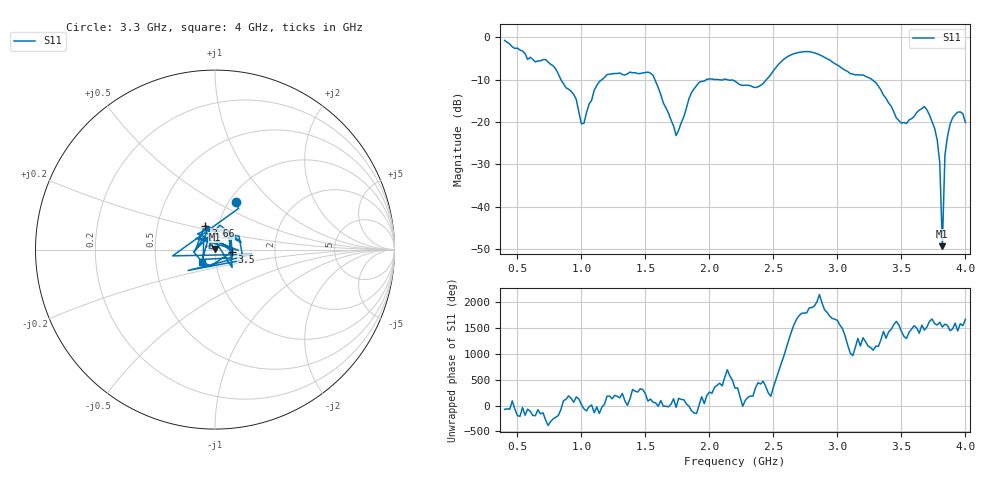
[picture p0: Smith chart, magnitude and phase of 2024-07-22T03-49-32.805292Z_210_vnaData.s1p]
!Created with skrf (http://scikit-rf.org).
# Hz S RI R 50.0
!freq ReS11 ImS11
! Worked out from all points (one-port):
!   181 points, 400 MHz to 4 GHz, reference 50 ohm
!   lowest |S11| = -49.4 dB at 3.82 GHz (marker M1), VSWR 1.01, Z = 50.1 + j0.33 ohm
!   |S11| at or under -10 dB: 839.2 MHz to 1.161 GHz (322 MHz wide, 32.2 % of centre); 1.574 GHz to 1.977 GHz (403.4 MHz wide, 22.7 % of centre); 3.27 GHz to end of sweep (the widest 3 of 5)
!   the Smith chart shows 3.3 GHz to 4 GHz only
!   S11 on the Smith chart (normalised r, x): 3.3 GHz: 1.07, +0.63; 3.5 GHz: 1.21, -0.03; 3.66 GHz: 0.87, +0.24; 4 GHz: 0.86, -0.12
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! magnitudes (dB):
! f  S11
! 400 MHz  -0.8
! 580 MHz  -5.3
! 720 MHz  -5.3
! 860 MHz  -11.0
! 960 MHz  -14.7
! 1 GHz  -20.5
! 1.14 GHz  -10.5
! 1.3 GHz  -8.4
! 1.56 GHz  -9.0
! 1.74 GHz  -23.2
! 1.76 GHz  -21.9
! 1.92 GHz  -10.7
! 2.2 GHz  -10.4
! 2.38 GHz  -11.7
! 2.66 GHz  -3.9
! 3.1 GHz  -8.6
! 3.3 GHz  -10.7
! 3.5 GHz  -20.3
! 3.56 GHz  -19.5
! 3.66 GHz  -16.9
! 3.7 GHz  -17.2
! 3.78 GHz  -24.3
! 3.8 GHz  -29.7
! 3.82 GHz  -49.4
! 3.84 GHz  -27.9
! 3.86 GHz  -23.4
! 3.94 GHz  -17.7
! 4 GHz  -20.1
